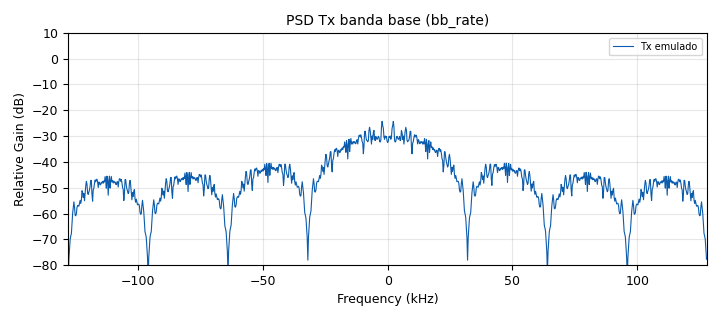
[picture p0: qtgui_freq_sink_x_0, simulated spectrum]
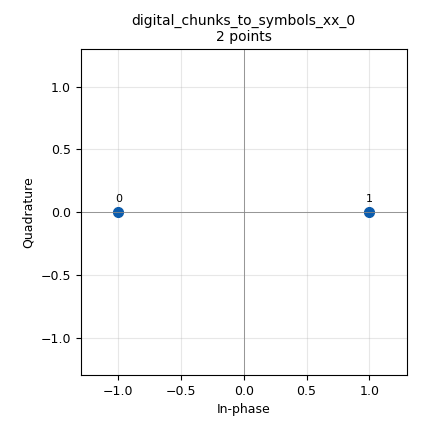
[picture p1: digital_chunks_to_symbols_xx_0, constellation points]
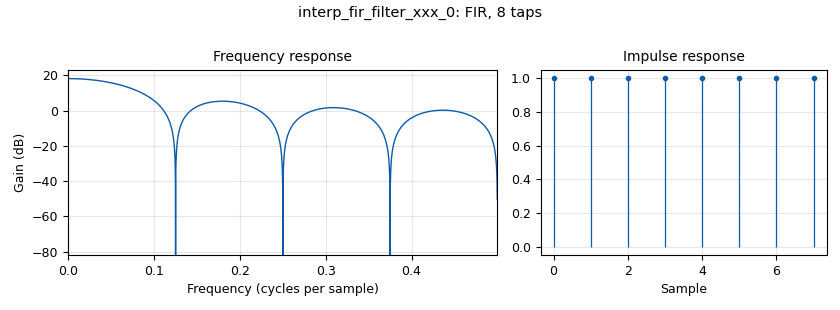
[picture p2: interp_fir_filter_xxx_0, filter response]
options:
  parameters:
    author: 'Grupo 5: Elkin Largo, Stiven Muñoz, Minuk Lee'
    comment: GRC para analizar ruido AWGN en modulaciones basadas en constelaciones
    description: Copia para hardware del transmisor. radio_rate = bb_rate*125/16 = 2 MS/s. LO desplazado lo_off para alejar la senal del spur DC. El canal eco puede EMULARSE digitalmente (eco_alpha) para pruebas conducidas por cable; con eco_alpha=0 se transmite la senal limpia.
    generate_options: qt_gui
    id: S3_BPSK_Grupo5_HackRF_TX
    output_language: python
    title: S3 BPSK Grupo 5 - TX HackRF One (Fase 3, NO validado en hardware)
  states: {}

blocks:
- name: M
  id: variable
  parameters:
    value: len(tabla_de_verdad_constelacion)
  states: {}
- name: Rb
  id: variable
  parameters:
    value: Rs*bps
  states: {}
- name: Rs
  id: variable
  parameters:
    value: '32000'
  states: {}
- name: Sps
  id: variable
  parameters:
    value: '8'
  states: {}
- name: bps
  id: variable
  parameters:
    value: int(math.log(M,2))
  states: {}
- name: h
  id: variable
  parameters:
    value: '[1]*Sps'
  states: {}
- name: samp_rate
  id: variable
  parameters:
    value: Rs*Sps
  states: {}
- name: tabla_de_verdad_constelacion
  id: variable
  parameters:
    comment: Cambie esta tabla para OOK ASK BPSK QPSK 8PSK o 16QAM
    value: (-1+0j, 1+0j)
  states: {}
- name: analog_random_source_x_0
  id: analog_random_source_x
  parameters:
    max: '2'
    min: '0'
    num_samps: '1000'
    repeat: 'True'
    type: byte
  states: {}
- name: blocks_pack_k_bits_bb_0
  id: blocks_pack_k_bits_bb
  parameters:
    k: '8'
  states: {}
- name: blocks_packed_to_unpacked_xx_0
  id: blocks_packed_to_unpacked_xx
  parameters:
    bits_per_chunk: bps
    endianness: gr.GR_MSB_FIRST
    type: byte
  states: {}
- name: digital_chunks_to_symbols_xx_0
  id: digital_chunks_to_symbols_xx
  parameters:
    dimension: '1'
    in_type: byte
    out_type: complex
    symbol_table: tabla_de_verdad_constelacion
  states: {}
- name: import_0
  id: import
  parameters:
    imports: import math, cmath
  states: {}
- name: interp_fir_filter_xxx_0
  id: interp_fir_filter_xxx
  parameters:
    interp: Sps
    taps: h
    type: ccf
  states: {}
- name: qtgui_freq_sink_x_0
  id: qtgui_freq_sink_x
  parameters:
    average: '0.2'
    bw: samp_rate
    fc: '0'
    fftsize: '1024'
    grid: 'True'
    gui_hint: 1,0,1,1
    label1: Tx emulado
    name: '"PSD Tx banda base (bb_rate)"'
    type: complex
    ymin: '-80'
  states: {}
- name: D_eco
  id: variable
  parameters:
    value: Sps
  states: {}
- name: eco_fase_deg
  id: variable
  parameters:
    value: '0'
  states: {}
- name: alpha_c
  id: variable
  parameters:
    value: eco_alpha*cmath.exp(1j*math.radians(eco_fase_deg))
  states: {}
- name: canal_eco_retardo
  id: blocks_delay
  parameters:
    type: complex
    delay: D_eco
  states: {}
- name: canal_eco_ganancia
  id: blocks_multiply_const_vxx
  parameters:
    type: complex
    const: alpha_c
  states: {}
- name: canal_suma_eco
  id: blocks_add_xx
  parameters:
    type: complex
  states: {}
- name: fc
  id: variable
  parameters:
    value: 960e6
  states: {}
- name: lo_off
  id: variable
  parameters:
    value: 200e3
  states: {}
- name: radio_rate
  id: variable
  parameters:
    value: 2e6
  states: {}
- name: bb_rate
  id: variable
  parameters:
    value: samp_rate
  states: {}
- name: interp_hw
  id: variable
  parameters:
    value: '125'
  states: {}
- name: decim_hw
  id: variable
  parameters:
    value: '16'
  states: {}
- name: rational_resampler_xxx_0
  id: rational_resampler_xxx
  parameters:
    comment: 256 kS/s x 125/16 = 2 MS/s
    decim: decim_hw
    interp: interp_hw
    type: ccc
  states: {}
- name: tx_desplaza
  id: freq_xlating_fir_filter_xxx
  parameters:
    center_freq: '-lo_off'
    decim: '1'
    samp_rate: radio_rate
    taps: '[1]'
    type: ccc
  states: {}
- name: hackrf_sink
  id: osmosdr_sink
  parameters:
    args: hackrf_tx
    bb_gain0: '0'
    comment: 'ATENCION: fc tomada del archivo de referencia del curso. Transmitir SOLO por cable con atenuacion o en frecuencia autorizada.'
    freq0: fc - lo_off
    gain0: '0'
    if_gain0: tx_vga
    sample_rate: radio_rate
    sync: none
    type: fc32
  states: {}
- name: tx_amp
  id: variable
  parameters:
    value: '0.5'
  states: {}
- name: tx_vga
  id: variable
  parameters:
    value: '20'
  states: {}
- name: tx_escala
  id: blocks_multiply_const_vxx
  parameters:
    type: complex
    const: tx_amp
  states: {}
- name: eco_alpha
  id: variable
  parameters:
    value: '0'
  states: {}

connections:
- [analog_random_source_x_0, '0', blocks_pack_k_bits_bb_0, '0']
- [blocks_pack_k_bits_bb_0, '0', blocks_packed_to_unpacked_xx_0, '0']
- [blocks_packed_to_unpacked_xx_0, '0', digital_chunks_to_symbols_xx_0, '0']
- [digital_chunks_to_symbols_xx_0, '0', interp_fir_filter_xxx_0, '0']
- [interp_fir_filter_xxx_0, '0', canal_suma_eco, '0']
- [interp_fir_filter_xxx_0, '0', canal_eco_retardo, '0']
- [canal_eco_retardo, '0', canal_eco_ganancia, '0']
- [canal_eco_ganancia, '0', canal_suma_eco, '1']
- [canal_suma_eco, '0', tx_escala, '0']
- [tx_escala, '0', rational_resampler_xxx_0, '0']
- [rational_resampler_xxx_0, '0', tx_desplaza, '0']
- [tx_desplaza, '0', hackrf_sink, '0']
- [canal_suma_eco, '0', qtgui_freq_sink_x_0, '0']

metadata:
  file_format: 1
  grc_version: 3.10.12.0
